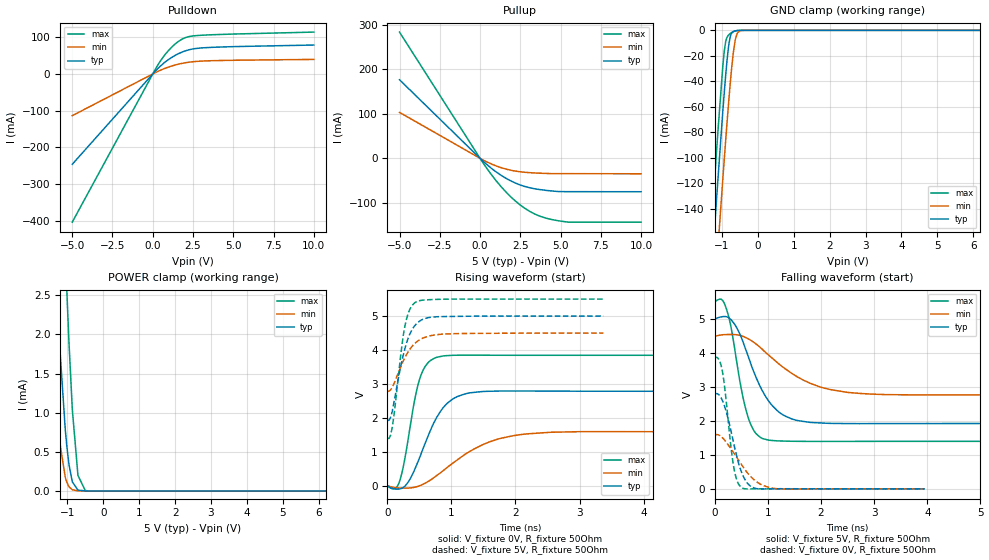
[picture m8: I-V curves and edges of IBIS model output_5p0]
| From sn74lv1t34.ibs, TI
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|   output_5p0 Model
[Model]   output_5p0
Model_type   3-state
Polarity   Non-Inverting
Vmeas = 2.5
Vref = 0
Cref = 50pF
Rref = 100
|   typ   min   max
|   (nom PVT)   (fast PVT)   (slow PVT)
C_comp   3.036e-12   2.933e-12   3.166e-12
| Where nom  PVT is Nominal Process, 5V, 40C
|   Fast PVT is Strong Process,  5.5V, -40C
|   Slow PVT is Weak Process,   4.5V, 140C
[Voltage Range]   5   4.5   5.5
|Junction Temperature
[Temperature Range]   40   140   -40
[Pullup Reference]   5   4.5   5.5
[Pulldown Reference]   0   0   0
[Power Clamp Reference]   5   4.5   5.5
[GND Clamp Reference]   0   0   0
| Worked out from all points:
|   slope of the pulldown table from 0 to 0.75 V, typ, clamps not added: 23.6 ohm
|   slope of the pullup table from 0 to 0.75 V, typ, clamps not added: 31.5 ohm
|   GND clamp passes 1 mA (typ) near -0.68 V on its own axis
|   POWER clamp passes 1 mA (typ) near -1.09 V on its own axis
|   falling waveform, V_fixture 5V, R_fixture 50Ohm: 20-80 % time 518ps typ, 916ps min, 290ps max; typ from 5 V to 1.93 V
|   rising waveform, V_fixture 0V, R_fixture 50Ohm: 20-80 % time 399ps typ, 782ps min, 224ps max; typ from 0 V to 2.79 V
|   rising waveform, V_fixture 5V, R_fixture 50Ohm: 20-80 % time 221ps typ, 281ps min, 160ps max; typ from 1.93 V to 5 V
|   falling waveform, V_fixture 0V, R_fixture 50Ohm: 20-80 % time 264ps typ, 441ps min, 164ps max; typ from 2.79 V to 0 V
[Pulldown]
|   Voltage   I(typ)   I(min)   I(max)
-5V       -246.2mA   -113.7mA   -403.9mA
263.5mV   12.5mA     5.885mA    20.71mA
795mV     33.37mA    15.92mA    54.53mA
1.242V    46.91mA    22.57mA    75.87mA
1.528V    53.84mA    26.02mA    86.51mA
1.985V    62.35mA    30.29mA    98.41mA
2.663V    69.36mA    34.08mA    104.4mA
4.295V    73.6mA     36.78mA    107.8mA
10V       78.88mA    39.67mA    114.2mA
[GND Clamp]
|   Voltage   I(typ)   I(min)   I(max)
-5V       -1.841A    -1.864A    -1.827A
-1.288V   -190.5mA   -243.9mA   -153.5mA
-1.244V   -172mA     -225.7mA   -134.7mA
-1.145V   -131.3mA   -185.2mA   -93.5mA
-1.115V   -119.1mA   -173mA     -81.25mA
-974mV    -63.74mA   -116.8mA   -28.23mA
-930mV    -47.7mA    -99.88mA   -15.61mA
-801.5mV  -10.29mA   -53.12mA   -3.37mA
-680mV    -924.7uA   -17.3mA    -1.009mA
-572mV    -177.5uA   -2.26mA    -187.4uA
-432.5mV  -14.78uA   -69.02uA   -9.767uA
10V       0A         0A         0A
[Pullup]
|   Voltage   I(typ)   I(min)   I(max)
-5V       176.7mA    103.3mA    283.9mA
314.5mV   -10.58mA   -6.152mA   -17.06mA
769.5mV   -24.34mA   -13.79mA   -39.84mA
1.367V    -39.63mA   -21.66mA   -66.27mA
1.9V      -50.61mA   -26.73mA   -86.4mA
2.425V    -59.02mA   -30.06mA   -103.1mA
3.08V     -66.23mA   -32.31mA   -119.3mA
3.696V    -70.27mA   -33.5mA    -129.9mA
4.894V    -74.87mA   -34.52mA   -140.7mA
5.503V    -75.05mA   -34.56mA   -143.7mA
10V       -75.22mA   -34.82mA   -143.7mA
[POWER Clamp]
|   Voltage   I(typ)   I(min)   I(max)
-5V       77.24mA    42.94mA    125.9mA
-1.742V   7.367mA    3.544mA    15.7mA
-1.496V   4.442mA    1.946mA    10.39mA
-1.31V    2.599mA    976.9uA    6.864mA
-1.26V    2.18mA     767.8uA    6.034mA
-1.056V   778.3uA    171.9uA    3.069mA
-1.013V   566.1uA    108.6uA    2.542mA
-955mV    340.7uA    54.1uA     1.904mA
-860mV    115.2uA    14.7uA     1.035mA
-704.5mV  10.48uA    1.48uA     198.1uA
-500mV    371nA      82.56nA    5.271uA
10V       0A         0A         0A
[Ramp]
R_load = 50
|   typ   min   max
dV/dt_r   1.67219/3.9833e-10   0.953974/7.8106e-10   2.30762/2.24062e-10
dV/dt_f   1.84348/5.17153e-10   1.03365/9.15033e-10   2.46005/2.90383e-10
[Falling Waveform]
V_fixture = 5V
V_fixture_min = 4.5V
V_fixture_max = 5.5V
R_fixture = 50Ohm
|   Time   V(typ)   V(min)   V(max)
0s        5V         4.5V       5.5V
200ps     5.079V     4.546V     5.395V
300ps     4.996V     4.549V     4.824V
400ps     4.786V     4.543V     3.884V
600ps     4.038V     4.447V     2.261V
750ps     3.394V     4.301V     1.685V
925ps     2.811V     4.068V     1.468V
1.45ns    2.061V     3.404V     1.403V
2.5ns     1.924V     2.842V     1.399V
8.575ns   1.928V     2.777V     1.4V
[Rising Waveform]
V_fixture = 0V
V_fixture_min = 0V
V_fixture_max = 0V
R_fixture = 50Ohm
|   Time   V(typ)   V(min)   V(max)
0s        690.4pV    4.014nV    1.62nV
175ps     -93.59mV   -60.08mV   62.7mV
325ps     115.7mV    -62.11mV   1.39V
500ps     820.7mV    3.087mV    3.126V
625ps     1.422V     119.1mV    3.607V
775ps     2.033V     312.1mV    3.789V
950ps     2.458V     570mV      3.838V
1.2ns     2.701V     914.3mV    3.849V
2.175ns   2.794V     1.532V     3.846V
7.275ns   2.787V     1.59V      3.846V
[Rising Waveform]
V_fixture = 5V
V_fixture_min = 4.5V
V_fixture_max = 5.5V
R_fixture = 50Ohm
|   Time   V(typ)   V(min)   V(max)
0s        1.928V     2.777V     1.4V
50ps      2.017V     2.828V     1.496V
75ps      2.192V     2.903V     1.718V
225ps     3.668V     3.586V     4.115V
275ps     4.054V     3.783V     4.722V
350ps     4.472V     4.023V     5.199V
425ps     4.713V     4.19V      5.39V
600ps     4.935V     4.382V     5.476V
875ps     4.985V     4.47V      5.496V
3.375ns   5V         4.5V       5.5V
[Falling Waveform]
V_fixture = 0V
V_fixture_min = 0V
V_fixture_max = 0V
R_fixture = 50Ohm
|   Time   V(typ)   V(min)   V(max)
0s        2.787V     1.59V      3.846V
50ps      2.804V     1.599V     3.868V
125ps     2.67V      1.538V     3.613V
175ps     2.486V     1.458V     3.158V
350ps     1.399V     1.078V     715.8mV
425ps     898.6mV    902.3mV    219mV
500ps     510.7mV    724.8mV    41.64mV
675ps     79.95mV    366.6mV    -2.439mV
1.1ns     460.9uV    15.9mV     1.555mV
3.95ns    -43.29uV   -194.6uV   9.014uV
